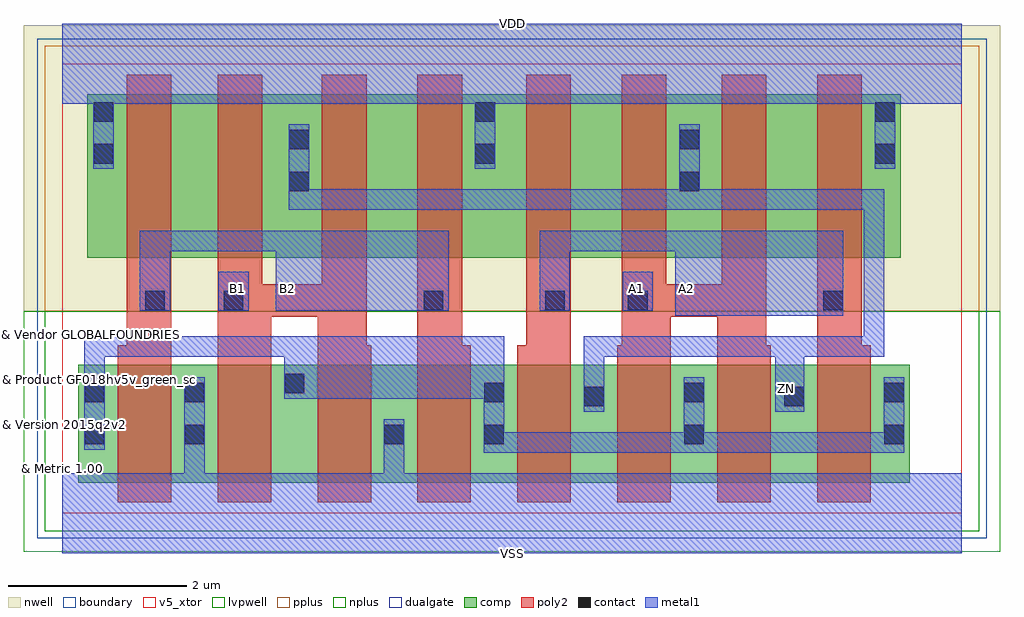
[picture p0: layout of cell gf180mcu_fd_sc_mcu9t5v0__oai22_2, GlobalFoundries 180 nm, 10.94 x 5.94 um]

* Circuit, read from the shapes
.subckt gf180mcu_fd_sc_mcu9t5v0__oai22_2 A1 A2 B1 B2 VDD VSS ZN
XM1 VSS B2 n1 VSUBS nfet_05v0 w=1.32u l=0.6u m=2
XM2 n1 B1 VSS VSUBS nfet_05v0 w=1.32u l=0.6u m=2
XM3 ZN A2 n1 VSUBS nfet_05v0 w=1.32u l=0.6u m=2
XM4 n1 A1 ZN VSUBS nfet_05v0 w=1.32u l=0.6u m=2
XM5 n2 B2 VDD n3 pfet_05v0 w=1.83u l=0.5u
XM6 ZN B1 n2 n3 pfet_05v0 w=1.83u l=0.5u
XM7 n4 B1 ZN n3 pfet_05v0 w=1.83u l=0.5u
XM8 VDD B2 n4 n3 pfet_05v0 w=1.83u l=0.5u
XM9 n5 A2 VDD n3 pfet_05v0 w=1.83u l=0.5u
XM10 ZN A1 n5 n3 pfet_05v0 w=1.83u l=0.5u
XM11 n6 A1 ZN n3 pfet_05v0 w=1.83u l=0.5u
XM12 VDD A2 n6 n3 pfet_05v0 w=1.83u l=0.5u
.ends

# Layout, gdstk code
import gdstk
lib = gdstk.Library(unit=1e-6, precision=1e-09)
def R(c, l, rs):  # rectangles x0, y0, x1, y1
    for r in rs: c.add(gdstk.rectangle(r[:2], r[2:], *l))
def A(c, l, x, y, w, h, nx, ny, dx, dy):  # array of equal rectangles
    R(c, l, [(x+i*dx, y+j*dy, x+i*dx+w, y+j*dy+h) for i in range(nx) for j in range(ny)])
def P(c, l, *ps):  # polygons
    for p in ps: c.add(gdstk.Polygon(p, *l))
boundary = (0, 0)
nwell = (21, 0)
comp = (22, 0)
poly2 = (30, 0)
pplus = (31, 0)
nplus = (32, 0)
contact = (33, 0)
metal1 = (34, 0)
dualgate = (55, 0)
v5_xtor = (112, 1)
lvpwell = (204, 0)

gf180mcu_fd_sc_mcu9t5v0_ = lib.new_cell('gf180mcu_fd_sc_mcu9t5v0__oai22_2')
R(gf180mcu_fd_sc_mcu9t5v0_, boundary, [(0,0,10.08,5.04)])
R(gf180mcu_fd_sc_mcu9t5v0_, nwell, [(-0.43,2.265,10.51,5.47)])
R(gf180mcu_fd_sc_mcu9t5v0_, comp, [(0.18,0.345,9.5,1.665), (0.28,2.865,9.4,4.695)])
P(gf180mcu_fd_sc_mcu9t5v0_, poly2, [(0.62,0.125),(0.62,1.885),(0.72,1.885),(0.72,4.915),(1.22,4.915),(1.22,0.125)],
  [(1.74,0.125),(1.74,4.915),(2.24,4.915),(2.24,2.565),(2.91,2.565),(2.91,4.915),(3.41,4.915),(3.41,1.885),(3.46,1.885),(3.46,0.125),(2.86,0.125),(2.86,2.205),(2.34,2.205),(2.34,0.125)],
  [(3.98,0.125),(3.98,4.915),(4.48,4.915),(4.48,1.885),(4.58,1.885),(4.58,0.125)],
  [(5.1,0.125),(5.1,1.885),(5.2,1.885),(5.2,4.915),(5.7,4.915),(5.7,0.125)],
  [(6.22,0.125),(6.22,1.885),(6.27,1.885),(6.27,4.915),(6.77,4.915),(6.77,2.565),(7.39,2.565),(7.39,4.915),(7.89,4.915),(7.89,1.885),(7.94,1.885),(7.94,0.125),(7.34,0.125),(7.34,2.205),(6.82,2.205),(6.82,0.125)],
  [(8.46,0.125),(8.46,4.915),(8.96,4.915),(8.96,1.885),(9.06,1.885),(9.06,0.125)])
R(gf180mcu_fd_sc_mcu9t5v0_, pplus, [(-0.2,2.265,10.28,5.24)])
R(gf180mcu_fd_sc_mcu9t5v0_, nplus, [(-0.2,-0.2,10.28,2.265)])
A(gf180mcu_fd_sc_mcu9t5v0_, contact, 4.73, 0.775, 0.22, 0.22, 3, 2, 2.24, 0.47)
R(gf180mcu_fd_sc_mcu9t5v0_, contact, [(0.25,0.775,0.47,0.995), (1.37,0.775,1.59,0.995), (3.61,0.775,3.83,0.995), (5.85,1.2,6.07,1.42), (8.09,1.2,8.31,1.42), (0.25,1.245,0.47,1.465), (1.37,1.245,1.59,1.465), (2.49,1.345,2.71,1.565), (0.93,2.275,1.15,2.495), (1.81,2.275,2.03,2.495), (4.05,2.275,4.27,2.495), (5.41,2.275,5.63,2.495), (6.34,2.275,6.56,2.495), (8.53,2.275,8.75,2.495), (2.54,3.61,2.76,3.83), (6.92,3.61,7.14,3.83), (0.35,3.92,0.57,4.14), (4.63,3.92,4.85,4.14), (9.11,3.92,9.33,4.14), (2.54,4.08,2.76,4.3), (6.92,4.08,7.14,4.3), (0.35,4.39,0.57,4.61), (4.63,4.39,4.85,4.61), (9.11,4.39,9.33,4.61)])
R(gf180mcu_fd_sc_mcu9t5v0_, metal1, [(1.75,2.27,2.09,2.71), (6.28,2.27,6.62,2.71)])
P(gf180mcu_fd_sc_mcu9t5v0_, metal1, [(0.87,2.27),(0.87,3.17),(4.33,3.17),(4.33,2.27),(2.39,2.27),(2.39,2.94),(1.21,2.94),(1.21,2.27)],
  [(6.87,2.215),(6.87,2.94),(5.69,2.94),(5.69,2.27),(5.35,2.27),(5.35,3.17),(8.755,3.17),(8.755,2.215)],
  [(5.845,1.14),(5.845,1.985),(8.985,1.985),(8.985,3.4),(2.535,3.4),(2.535,4.36),(2.765,4.36),(2.765,3.63),(6.915,3.63),(6.915,4.36),(7.145,4.36),(7.145,3.63),(9.215,3.63),(9.215,1.755),(8.315,1.755),(8.315,1.14),(7.99,1.14),(7.99,1.755),(6.075,1.755),(6.075,1.14)],
  [(4.725,0.68),(4.725,1.285),(2.485,1.285),(2.485,1.755),(0.475,1.755),(0.475,0.715),(0.245,0.715),(0.245,1.985),(4.955,1.985),(4.955,0.91),(6.965,0.91),(6.965,1.525),(7.195,1.525),(7.195,0.91),(9.205,0.91),(9.205,1.525),(9.435,1.525),(9.435,0.68)],
  [(0,-0.45),(0,0.45),(1.365,0.45),(1.365,1.525),(1.595,1.525),(1.595,0.45),(3.605,0.45),(3.605,1.055),(3.835,1.055),(3.835,0.45),(10.08,0.45),(10.08,-0.45)],
  [(0.345,3.86),(0.345,4.59),(0,4.59),(0,5.49),(10.08,5.49),(10.08,4.59),(9.335,4.59),(9.335,3.86),(9.105,3.86),(9.105,4.59),(4.855,4.59),(4.855,3.86),(4.625,3.86),(4.625,4.59),(0.575,4.59),(0.575,3.86)])
R(gf180mcu_fd_sc_mcu9t5v0_, dualgate, [(-0.28,-0.28,10.36,5.32)])
R(gf180mcu_fd_sc_mcu9t5v0_, v5_xtor, [(0,0,10.08,5.04)])
R(gf180mcu_fd_sc_mcu9t5v0_, lvpwell, [(-0.43,-0.43,10.51,2.265)])
gf180mcu_fd_sc_mcu9t5v0_.add(gdstk.Label('A1', (6.44,2.52), layer=34, texttype=10))
gf180mcu_fd_sc_mcu9t5v0_.add(gdstk.Label('A2', (7,2.52), layer=34, texttype=10))
gf180mcu_fd_sc_mcu9t5v0_.add(gdstk.Label('B1', (1.96,2.52), layer=34, texttype=10))
gf180mcu_fd_sc_mcu9t5v0_.add(gdstk.Label('B2', (2.52,2.52), layer=34, texttype=10))
gf180mcu_fd_sc_mcu9t5v0_.add(gdstk.Label('VDD', (5.04,5.49), layer=34, texttype=10))
gf180mcu_fd_sc_mcu9t5v0_.add(gdstk.Label('VSS', (5.04,-0.45), layer=34, texttype=10))
gf180mcu_fd_sc_mcu9t5v0_.add(gdstk.Label('ZN', (8.12,1.4), layer=34, texttype=10))
gf180mcu_fd_sc_mcu9t5v0_.add(gdstk.Label('& Vendor GLOBALFOUNDRIES', (0,2), layer=63, texttype=63))
gf180mcu_fd_sc_mcu9t5v0_.add(gdstk.Label('& Product GF018hv5v_green_sc9', (0,1.5), layer=63, texttype=63))
gf180mcu_fd_sc_mcu9t5v0_.add(gdstk.Label('& Version 2015q2v2', (0,1), layer=63, texttype=63))
gf180mcu_fd_sc_mcu9t5v0_.add(gdstk.Label('& Metric 1.00', (0,0.5), layer=63, texttype=63))

lib.write_gds('gf180mcu_fd_sc_mcu9t5v0__oai22_2.gds')
